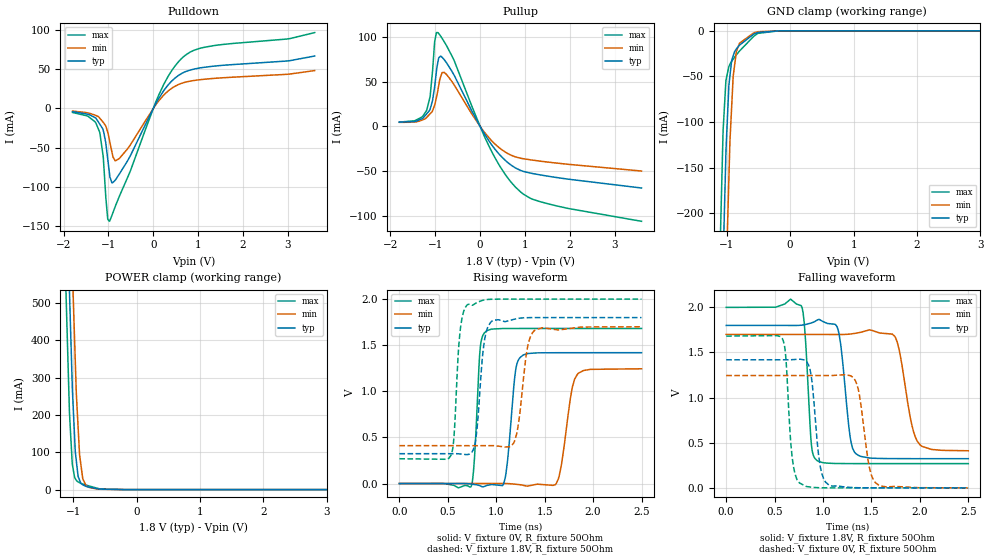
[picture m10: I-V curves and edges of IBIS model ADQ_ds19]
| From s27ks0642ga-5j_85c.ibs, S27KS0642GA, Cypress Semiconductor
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[Model]   ADQ_ds19
Model_type   I/O
Polarity   Non-Inverting
Enable   Active-High
Vinl = 0.54
Vinh = 1.26
Vmeas = 0.9
Vref = 0.9
Cref = 15pF
|   typ   min   max
C_comp   1.03pF   1.01pF   1.05pF
[Voltage Range]   1.8   1.7   2
[Temperature Range]   25   85   -40
[Pullup Reference]   1.8   1.7   2
[Pulldown Reference]   0   0   0
[Power Clamp Reference]   1.8   1.7   2
[GND Clamp Reference]   0   0   0
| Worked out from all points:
|   slope of the pulldown table from 0 to 0.27 V, typ, clamps not added: 10.5 ohm
|   slope of the pullup table from 0 to 0.27 V, typ, clamps not added: 12.6 ohm
|   falling waveform, V_fixture 1.8V, R_fixture 50Ohm: 20-80 % time 81.8ps typ, 122ps min, 52.3ps max; typ from 1.8 V to 0.324 V
|   rising waveform, V_fixture 0V, R_fixture 50Ohm: 20-80 % time 69ps typ, 97.8ps min, 46.8ps max; typ from 0 V to 1.42 V
|   rising waveform, V_fixture 1.8V, R_fixture 50Ohm: 20-80 % time 68.6ps typ, 85.1ps min, 56.9ps max; typ from 0.324 V to 1.8 V
|   falling waveform, V_fixture 0V, R_fixture 50Ohm: 20-80 % time 74.3ps typ, 94ps min, 59.5ps max; typ from 1.42 V to 0 V
[Pulldown]
|   Voltage   I(typ)   I(min)   I(max)
-1.8V     -4.128mA   -3.321mA   -5.132mA
-1.46V    -7.456mA   -5.669mA   -9.828mA
-1.192V   -20.16mA   -12.52mA   -30.97mA
-1.114V   -28.49mA   -17.86mA   -62.86mA
-1.016V   -64.43mA   -30.35mA   -141.1mA
-976mV    -83.23mA   -40.7mA    -144.2mA
-899mV    -94.57mA   -62.02mA   -133.1mA
-762mV    -84.22mA   -64.17mA   -113.1mA
114mV     12.03mA    9.191mA    16.12mA
628mV     44.55mA    32.09mA    63.69mA
1.118V    52.49mA    37.24mA    77.94mA
3.6V      67.03mA    48.43mA    97.01mA
[GND Clamp]
|   Voltage   I(typ)   I(min)   I(max)
-1.8V     -3.484A    -3.673A    -3.305A
-1.116V   -451.4mA   -653.9mA   -269.1mA
-1.072V   -300.7mA   -480.7mA   -149.2mA
-1.058V   -253.6mA   -429.5mA   -110mA
-1.051V   -235.5mA   -405.7mA   -101.3mA
-1.004V   -118.6mA   -255.5mA   -51.5mA
-966mV    -59.29mA   -160.7mA   -39.15mA
-950mV    -49.31mA   -121.3mA   -36.76mA
-899mV    -27.43mA   -50.1mA    -31.04mA
-848mV    -19.8mA    -22.61mA   -26.34mA
-574.2mV  -3.616mA   -2.265mA   -5.998mA
3.6V      0A         0A         0A
[Pullup]
|   Voltage   I(typ)   I(min)   I(max)
-1.8V     4.739mA    4.51mA     4.854mA
-1.46V    5.536mA    4.741mA    6.295mA
-1.19V    14.14mA    10.18mA    18.08mA
-1.114V   19.4mA     14.1mA     33.53mA
-1.06V    28.85mA    17.45mA    61.89mA
-1.014V   43.91mA    23.73mA    94.14mA
-940mV    71.94mA    40.73mA    104.7mA
-848mV    77.23mA    60mA       98.35mA
-798mV    74.35mA    60.27mA    94.31mA
241.7mV   -19.31mA   -15.09mA   -26.32mA
902mV     -49.03mA   -35.45mA   -72.97mA
3.6V      -68.66mA   -49.74mA   -105.8mA
[POWER Clamp]
|   Voltage   I(typ)   I(min)   I(max)
-1.8V     6.849A     7.225A     6.488A
-1.114V   919.1mA    1.333A     536.5mA
-1.105V   854.5mA    1.264A     484.7mA
-1.057V   523.1mA    892.7mA    202.3mA
-1.014V   281mA      609.8mA    69.13mA
-1.004V   240.8mA    546.8mA    59.75mA
-966.6mV  103.1mA    346.8mA    29.38mA
-950mV    77.38mA    259.2mA    25.14mA
-899mV    25.56mA    94.42mA    18.55mA
-848mV    12.66mA    29.07mA    15.1mA
-574.2mV  1.262mA    969.3uA    1.81mA
3.6V      0A         0A         0A
[Ramp]
R_load = 50
|   typ   min   max
dV/dt_r 8.5138E-01/6.8904E-11   7.4677E-01/9.7495E-11   1.0092E+00/4.6810E-11
dV/dt_f 8.8587E-01/8.1153E-11   7.7336E-01/1.2093E-10   1.0387E+00/5.2282E-11
[Falling Waveform]
V_fixture = 1.8V
V_fixture_min = 1.7V
V_fixture_max = 2V
R_fixture = 50Ohm
C_fixture = 0F
|   Time   V(typ)   V(min)   V(max)
0s        1.8V       1.7V       2V
775ps     1.803V     1.7V       2.019V
815ps     1.809V     1.7V       1.703V
880ps     1.828V     1.7V       480mV
940ps     1.86V      1.7V       301.5mV
1.155ns   1.753V     1.699V     269.8mV
1.34ns    378.8mV    1.714V     268.9mV
1.74ns    324mV      1.68V      268.8mV
2.005ns   323.6mV    472.6mV    268.8mV
2.5ns     323.6mV    411.1mV    268.8mV
[Rising Waveform]
V_fixture = 0V
V_fixture_min = 0V
V_fixture_max = 0V
R_fixture = 50Ohm
C_fixture = 0F
|   Time   V(typ)   V(min)   V(max)
0s        0V         0V         0V
740ps     -5.265mV   0V         -34.01mV
775ps     -10.52mV   792.1nV    268.8mV
835ps     -25.01mV   0V         1.473V
900ps     -22.2mV    -25.46uV   1.656V
1.09ns    47.51mV    326.3uV    1.681V
1.245ns   1.365V     -13.03mV   1.682V
1.62ns    1.419V     1.191mV    1.682V
1.84ns    1.419V     1.188V     1.682V
2.5ns     1.419V     1.245V     1.682V
[Rising Waveform]
V_fixture = 1.8V
V_fixture_min = 1.7V
V_fixture_max = 2V
R_fixture = 50Ohm
C_fixture = 0F
|   Time   V(typ)   V(min)   V(max)
0s        323.6mV    410.4mV    268.8mV
535ps     323.7mV    410.4mV    308.9mV
625ps     321.2mV    410.4mV    1.631V
705ps     314.5mV    410.4mV    1.94V
780ps     426.7mV    410.4mV    1.95V
865ps     1.447V     410.5mV    1.988V
955ps     1.76V      410.8mV    1.999V
1.195ns   1.784V     474.5mV    2V
1.395ns   1.8V       1.66V      2V
2.5ns     1.8V       1.7V       2V
[Falling Waveform]
|Gnd
V_fixture = 0V
V_fixture_min = 0V
V_fixture_max = 0V
R_fixture = 50Ohm
C_fixture = 0F
|   Time   V(typ)   V(min)   V(max)
0s        1.419V     1.245V     1.682V
580ps     1.419V     1.245V     1.653V
680ps     1.42V      1.245V     350.8mV
760ps     1.425V     1.245V     51.78mV
865ps     1.313V     1.245V     9.378mV
970ps     244.1mV    1.245V     1.478mV
1.065ns   27.8mV     1.244V     258.4uV
1.335ns   2.319mV    1.185V     8.37uV
1.545ns   124.8uV    53.24mV    1.111uV
2.5ns     0V         10.81uV    0V
